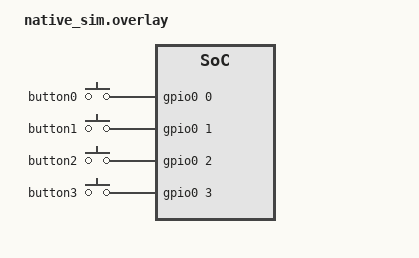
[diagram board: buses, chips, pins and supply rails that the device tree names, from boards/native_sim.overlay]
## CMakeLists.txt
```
# SPDX-License-Identifier: Apache-2.0

cmake_minimum_required(VERSION 3.28.0)
find_package(Zephyr REQUIRED HINTS $ENV{ZEPHYR_BASE})
project(hid_device)

target_sources(app PRIVATE src/main.c)
```

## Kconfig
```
# Copyright (c) 2026 SiFli Technologies(Nanjing) Co., Ltd
#
# SPDX-License-Identifier: Apache-2.0

mainmenu "Bluetooth Classic HID Device sample"

source "Kconfig.zephyr"
```

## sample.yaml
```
sample:
  name: Bluetooth HID Device
tests:
  sample.bluetooth.hid_device:
    harness: bluetooth
    platform_allow:
      - sf32lb52_devkit_lcd/sf32lb525uc6
      - qemu_cortex_m3
      - qemu_x86
    tags: bluetooth
    integration_platforms:
      - sf32lb52_devkit_lcd/sf32lb525uc6
```

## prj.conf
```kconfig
CONFIG_BT=y
CONFIG_BT_CLASSIC=y
CONFIG_BT_HID_DEVICE=y
CONFIG_BT_DEVICE_NAME="hid-mouse"
CONFIG_BT_COD=0x002580
CONFIG_BT_PAGE_TIMEOUT=0xFFFF
CONFIG_INPUT=y
CONFIG_GPIO=y

# Persist bonds so the virtual cable survives a reboot
CONFIG_BT_SETTINGS=y
CONFIG_FLASH=y
CONFIG_FLASH_MAP=y
CONFIG_NVS=y
CONFIG_SETTINGS=y
```

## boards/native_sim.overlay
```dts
/*
 * Copyright (c) 2026 Xiaomi Corporation
 *
 * SPDX-License-Identifier: Apache-2.0
 */

#include <zephyr/dt-bindings/input/input-event-codes.h>

/ {
	aliases {
		sw0 = &button0;
		sw1 = &button1;
		sw2 = &button2;
		sw3 = &button3;
	};

	gpio_keys {
		compatible = "gpio-keys";

		button0: button_0 {
			gpios = <&gpio0 0 GPIO_ACTIVE_HIGH>;
			zephyr,code = <INPUT_KEY_0>;
		};

		button1: button_1 {
			gpios = <&gpio0 1 GPIO_ACTIVE_HIGH>;
			zephyr,code = <INPUT_KEY_1>;
		};

		button2: button_2 {
			gpios = <&gpio0 2 GPIO_ACTIVE_HIGH>;
			zephyr,code = <INPUT_KEY_2>;
		};

		button3: button_3 {
			gpios = <&gpio0 3 GPIO_ACTIVE_HIGH>;
			zephyr,code = <INPUT_KEY_3>;
		};
	};
};
```

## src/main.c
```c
/* main.c - Bluetooth Classic HID Device (Mouse) sample */

/*
 * Copyright (c) 2026 Xiaomi Corporation
 *
 * SPDX-License-Identifier: Apache-2.0
 */

#include <errno.h>
#include <stddef.h>

#include <zephyr/kernel.h>
#include <zephyr/sys/printk.h>
#include <zephyr/types.h>

#include <zephyr/bluetooth/bluetooth.h>
#include <zephyr/bluetooth/classic/classic.h>
#include <zephyr/bluetooth/classic/hid_device.h>
#include <zephyr/bluetooth/classic/sdp.h>
#include <zephyr/bluetooth/conn.h>
#include <zephyr/bluetooth/l2cap.h>
#include <zephyr/input/input.h>
#include <zephyr/settings/settings.h>
#include <zephyr/usb/class/hid.h>

#define HID_DEVICE_VERSION      0x0101U
#define HID_PARSER_VERSION      0x0111U
#define HID_DEVICE_SUBCLASS     0x80U /* Pointing device (mouse) */
#define HID_DEVICE_COUNTRY_CODE 0x21U
#define HID_PROTO_CONTROL       0x0011U
#define HID_PROTO_INTERRUPT     0x0013U

#define HID_LANG_ID_ENGLISH 0x0409U
#define HID_LANG_ID_OFFSET  0x0100U

#define HID_SUPERVISION_TIMEOUT  1000
#define HID_SSR_HOST_MAX_LATENCY 240
#define HID_SSR_HOST_MIN_TIMEOUT 0

/* Byte indices and length of the Report Protocol mouse input report. The
 * layout matches HID_MOUSE_REPORT_DESC() below: buttons + X + Y + wheel. That
 * descriptor declares no Report ID, so Report Protocol reports carry no ID
 * byte. Boot Protocol is different, see HID_BOOT_MOUSE_* below.
 */
enum mouse_report_idx {
	MOUSE_BTN_REPORT_IDX = 0,
	MOUSE_X_REPORT_IDX = 1,
	MOUSE_Y_REPORT_IDX = 2,
	MOUSE_WHEEL_REPORT_IDX = 3,
	MOUSE_REPORT_COUNT = 4,
};

#define MOUSE_BTN_LEFT  0
#define MOUSE_BTN_RIGHT 1

/* Boot Protocol Mode mouse report. Unlike Report Protocol, the HID spec
 * (v1.1.2, 3.3.2 and Table 3.15) mandates a leading Report ID for boot
 * reports: a mouse boot report is 4 octets, Report ID 2 followed by the
 * standard 3-octet boot report (buttons + X + Y). Every report sent in Boot
 * Protocol Mode, over GET_REPORT or asynchronously on the Interrupt channel,
 * must include this Report ID.
 */
#define HID_BOOT_MOUSE_REPORT_ID 0x02U
#define HID_BOOT_MOUSE_REPORT_LEN 4U

NET_BUF_POOL_FIXED_DEFINE(hid_tx_pool, 2, BT_L2CAP_BUF_SIZE(CONFIG_BT_L2CAP_TX_MTU),
			  CONFIG_BT_CONN_TX_USER_DATA_SIZE, NULL);

/* HID callbacks run in the Bluetooth RX workqueue while the input callback
 * runs in the input subsystem thread (CONFIG_INPUT_MODE_THREAD). hid_lock
 * serializes the HID session state below between the two: the HID callbacks
 * update it under the lock, and the input path holds it while building and
 * sending a report, so a report is never built for one session and sent on
 * another.
 */
static K_MUTEX_DEFINE(hid_lock);

static struct bt_hid_device *default_hid;

/* Protocol mode negotiated with the host. The HID spec defaults to Report
 * Protocol Mode, and there is no API to query the stack, so the application
 * tracks the mode itself from the Set_Protocol callback.
 */
static bool hid_boot_mode;

/* Deferred Virtual Cable Unplug bookkeeping, see hid_vc_unplug_cb() */
static bool vcu_unplug_pending;
static bt_addr_t vcu_peer;

/* Standard mouse report descriptor from the HID class helpers. It declares
 * two buttons and relative X/Y/wheel with no Report ID, matching the input
 * report built in send_mouse_report().
 */
static const uint8_t mouse_descriptor[] = HID_MOUSE_REPORT_DESC(2);

/* clang-format off */
static struct bt_sdp_attribute hid_attrs[] = {
	BT_SDP_NEW_SERVICE,
	BT_SDP_LIST(
		BT_SDP_ATTR_SVCLASS_ID_LIST,
		BT_SDP_TYPE_SIZE_VAR(BT_SDP_SEQ8, 3),
		BT_SDP_DATA_ELEM_LIST(
		{
			BT_SDP_TYPE_SIZE(BT_SDP_UUID16),
			BT_SDP_ARRAY_16(BT_SDP_HID_SVCLASS)
		}
		)
	),
	BT_SDP_LIST(
		BT_SDP_ATTR_PROTO_DESC_LIST,
		BT_SDP_TYPE_SIZE_VAR(BT_SDP_SEQ8, 13),
		BT_SDP_DATA_ELEM_LIST(
		{
			BT_SDP_TYPE_SIZE_VAR(BT_SDP_SEQ8, 6),
			BT_SDP_DATA_ELEM_LIST(
			{
				BT_SDP_TYPE_SIZE(BT_SDP_UUID16),
				BT_SDP_ARRAY_16(BT_SDP_PROTO_L2CAP)
			},
			{
				BT_SDP_TYPE_SIZE(BT_SDP_UINT16),
				BT_SDP_ARRAY_16(HID_PROTO_CONTROL)
			}
			)
		},
		{
			BT_SDP_TYPE_SIZE_VAR(BT_SDP_SEQ8, 3),
			BT_SDP_DATA_ELEM_LIST(
			{
				BT_SDP_TYPE_SIZE(BT_SDP_UUID16),
				BT_SDP_ARRAY_16(BT_SDP_PROTO_HID)
			}
			)
		},
		)
	),
	BT_SDP_LIST(
		BT_SDP_ATTR_PROFILE_DESC_LIST,
		BT_SDP_TYPE_SIZE_VAR(BT_SDP_SEQ8, 8),
		BT_SDP_DATA_ELEM_LIST(
		{
			BT_SDP_TYPE_SIZE_VAR(BT_SDP_SEQ8, 6),
			BT_SDP_DATA_ELEM_LIST(
			{
				BT_SDP_TYPE_SIZE(BT_SDP_UUID16),
				BT_SDP_ARRAY_16(BT_SDP_HID_SVCLASS)
			},
			{
				BT_SDP_TYPE_SIZE(BT_SDP_UINT16),
				BT_SDP_ARRAY_16(HID_DEVICE_VERSION)
			}
			)
		}
		)
	),
	BT_SDP_LIST(
		BT_SDP_ATTR_ADD_PROTO_DESC_LIST,
		BT_SDP_TYPE_SIZE_VAR(BT_SDP_SEQ8, 15),
		BT_SDP_DATA_ELEM_LIST(
		{
			BT_SDP_TYPE_SIZE_VAR(BT_SDP_SEQ8, 13),
			BT_SDP_DATA_ELEM_LIST(
			{
				BT_SDP_TYPE_SIZE_VAR(BT_SDP_SEQ8, 6),
				BT_SDP_DATA_ELEM_LIST(
				{
					BT_SDP_TYPE_SIZE(BT_SDP_UUID16),
					BT_SDP_ARRAY_16(BT_SDP_PROTO_L2CAP)
				},
				{
					BT_SDP_TYPE_SIZE(BT_SDP_UINT16),
					BT_SDP_ARRAY_16(HID_PROTO_INTERRUPT)
				}
				)
			},
			{
				BT_SDP_TYPE_SIZE_VAR(BT_SDP_SEQ8, 3),
				BT_SDP_DATA_ELEM_LIST(
				{
					BT_SDP_TYPE_SIZE(BT_SDP_UUID16),
					BT_SDP_ARRAY_16(BT_SDP_PROTO_HID)
				}
				)
			}
			)
		}
		)
	),
	BT_SDP_SERVICE_NAME("HID Mouse"),
	{
		BT_SDP_ATTR_HID_DEVICE_RELEASE_NUMBER,
		{ BT_SDP_TYPE_SIZE(BT_SDP_UINT16), BT_SDP_ARRAY_16(HID_DEVICE_VERSION) }
	},
	{
		BT_SDP_ATTR_HID_PARSER_VERSION,
		{ BT_SDP_TYPE_SIZE(BT_SDP_UINT16), BT_SDP_ARRAY_16(HID_PARSER_VERSION) }
	},
	{
		BT_SDP_ATTR_HID_DEVICE_SUBCLASS,
		{ BT_SDP_TYPE_SIZE(BT_SDP_UINT8), BT_SDP_ARRAY_8(HID_DEVICE_SUBCLASS) }
	},
	{
		BT_SDP_ATTR_HID_COUNTRY_CODE,
		{ BT_SDP_TYPE_SIZE(BT_SDP_UINT8), BT_SDP_ARRAY_8(HID_DEVICE_COUNTRY_CODE) }
	},
	{
		BT_SDP_ATTR_HID_VIRTUAL_CABLE,
		{ BT_SDP_TYPE_SIZE(BT_SDP_BOOL), BT_SDP_ARRAY_8(0x01) }
	},
	/* The sample never pages the host: it stays page scannable and waits for
	 * the host to (re)connect, so it does not claim device-initiated
	 * reconnection.
	 */
	{
		BT_SDP_ATTR_HID_RECONNECT_INITIATE,
		{ BT_SDP_TYPE_SIZE(BT_SDP_BOOL), BT_SDP_ARRAY_8(0x00) }
	},
	BT_SDP_LIST(
		BT_SDP_ATTR_HID_DESCRIPTOR_LIST,
		BT_SDP_TYPE_SIZE_VAR(BT_SDP_SEQ16, sizeof(mouse_descriptor) + 8),
		BT_SDP_DATA_ELEM_LIST(
		{
			BT_SDP_TYPE_SIZE_VAR(BT_SDP_SEQ16, sizeof(mouse_descriptor) + 5),
			BT_SDP_DATA_ELEM_LIST(
			{
				BT_SDP_TYPE_SIZE(BT_SDP_UINT8),
				BT_SDP_ARRAY_8(0x22),
			},
			{
				BT_SDP_TYPE_SIZE_VAR(BT_SDP_TEXT_STR16, sizeof(mouse_descriptor)),
				mouse_descriptor,
			}
			)
		}
		)
	),
	BT_SDP_LIST(
		BT_SDP_ATTR_HID_LANG_ID_BASE_LIST,
		BT_SDP_TYPE_SIZE_VAR(BT_SDP_SEQ8, 8),
		BT_SDP_DATA_ELEM_LIST(
		{
			BT_SDP_TYPE_SIZE_VAR(BT_SDP_SEQ8, 6),
			BT_SDP_DATA_ELEM_LIST(
			{
				BT_SDP_TYPE_SIZE(BT_SDP_UINT16),
				BT_SDP_ARRAY_16(HID_LANG_ID_ENGLISH),
			},
			{
				BT_SDP_TYPE_SIZE(BT_SDP_UINT16),
				BT_SDP_ARRAY_16(HID_LANG_ID_OFFSET),
			}
			),
		}
		)
	),
	{
		BT_SDP_ATTR_HID_BOOT_DEVICE,
		{ BT_SDP_TYPE_SIZE(BT_SDP_BOOL), BT_SDP_ARRAY_8(0x01) }
	},
	{
		BT_SDP_ATTR_HID_PROFILE_VERSION,
		{ BT_SDP_TYPE_SIZE(BT_SDP_UINT16), BT_SDP_ARRAY_16(HID_DEVICE_VERSION) }
	},
	/* Neither battery reporting nor remote wake of a suspended host is
	 * implemented by this sample.
	 */
	{
		BT_SDP_ATTR_HID_BATTERY_POWER,
		{ BT_SDP_TYPE_SIZE(BT_SDP_BOOL), BT_SDP_ARRAY_8(0x00) }
	},
	{
		BT_SDP_ATTR_HID_REMOTE_WAKEUP,
		{ BT_SDP_TYPE_SIZE(BT_SDP_BOOL), BT_SDP_ARRAY_8(0x00) }
	},
	/* Page scan stays enabled while no host is connected */
	{
		BT_SDP_ATTR_HID_NORMALLY_CONNECTABLE,
		{ BT_SDP_TYPE_SIZE(BT_SDP_BOOL), BT_SDP_ARRAY_8(0x01) }
	},
	{
		BT_SDP_ATTR_HID_SUPERVISION_TIMEOUT,
		{ BT_SDP_TYPE_SIZE(BT_SDP_UINT16), BT_SDP_ARRAY_16(HID_SUPERVISION_TIMEOUT) }
	},
	{
		BT_SDP_ATTR_HID_SSR_HOST_MAX_LATENCY,
		{ BT_SDP_TYPE_SIZE(BT_SDP_UINT16), BT_SDP_ARRAY_16(HID_SSR_HOST_MAX_LATENCY) }
	},
	{
		BT_SDP_ATTR_HID_SSR_HOST_MIN_TIMEOUT,
		{ BT_SDP_TYPE_SIZE(BT_SDP_UINT16), BT_SDP_ARRAY_16(HID_SSR_HOST_MIN_TIMEOUT) }
	},
};
/* clang-format on */

static struct bt_sdp_record hid_rec = BT_SDP_RECORD(hid_attrs);

static void send_mouse_report(const uint8_t report[MOUSE_REPORT_COUNT])
{
	struct net_buf *buf;
	int err;

	/* Allocate before taking hid_lock: the allocation may block until a
	 * buffer is freed, which must not happen while the HID callbacks are
	 * kept waiting for the lock.
	 */
	buf = bt_hid_device_create_pdu(&hid_tx_pool);
	if (buf == NULL) {
		printk("Failed to allocate HID PDU\n");
		return;
	}

	k_mutex_lock(&hid_lock, K_FOREVER);

	if (default_hid == NULL) {
		k_mutex_unlock(&hid_lock);
		net_buf_unref(buf);
		return;
	}

	/* Report Protocol sends buttons + X + Y + wheel with no Report ID. Boot
	 * Protocol prepends Report ID 2 and drops the wheel byte, so it carries
	 * the ID plus buttons + X + Y (HID spec v1.1.2, 3.3.2).
	 */
	if (hid_boot_mode) {
		net_buf_add_u8(buf, HID_BOOT_MOUSE_REPORT_ID);
		net_buf_add_mem(buf, report, 3);
	} else {
		net_buf_add_mem(buf, report, MOUSE_REPORT_COUNT);
	}

	err = bt_hid_device_input_report(default_hid, buf);

	k_mutex_unlock(&hid_lock);

	if (err != 0) {
		printk("Failed to send input report (err %d)\n", err);
		net_buf_unref(buf);
	}
}

/* Turn board button events into mouse input reports. Modeled on the USB HID
 * mouse sample: two buttons plus relative motion driven by four keys. The
 * board's devicetree maps its buttons to INPUT_KEY_0..3 (see the bundled
 * native_sim overlay). The callback runs in the input subsystem thread, not in
 * the Bluetooth RX thread, so calling the HID send path directly here is safe.
 */
static void input_cb(struct input_event *evt, void *user_data)
{
	static uint8_t report[MOUSE_REPORT_COUNT];

	ARG_UNUSED(user_data);

	/* This callback sees events from every input device. Event codes overlap
	 * between types (e.g. INPUT_KEY_1 and INPUT_REL_Z are both 2), so only
	 * key events may be mapped to mouse actions.
	 */
	if (evt->type != INPUT_EV_KEY) {
		return;
	}

	switch (evt->code) {
	case INPUT_KEY_0:
		WRITE_BIT(report[MOUSE_BTN_REPORT_IDX], MOUSE_BTN_LEFT, evt->value);
		break;
	case INPUT_KEY_1:
		WRITE_BIT(report[MOUSE_BTN_REPORT_IDX], MOUSE_BTN_RIGHT, evt->value);
		break;
	case INPUT_KEY_2:
		if (evt->value) {
			report[MOUSE_X_REPORT_IDX] += 10U;
		}

		break;
	case INPUT_KEY_3:
		if (evt->value) {
			report[MOUSE_Y_REPORT_IDX] += 10U;
		}

		break;
	default:
		printk("Unrecognized input code %u value %d\n", evt->code, evt->value);
		return;
	}

	send_mouse_report(report);

	/* Relative axes are one-shot; button bits persist until released */
	report[MOUSE_X_REPORT_IDX] = 0U;
	report[MOUSE_Y_REPORT_IDX] = 0U;
	report[MOUSE_WHEEL_REPORT_IDX] = 0U;
}
INPUT_CALLBACK_DEFINE(NULL, input_cb, NULL);

static void hid_connected_cb(struct bt_hid_device *hid)
{
	printk("HID connected\n");

	k_mutex_lock(&hid_lock, K_FOREVER);
	default_hid = hid;
	/* A new connection starts in Report Protocol Mode */
	hid_boot_mode = false;
	k_mutex_unlock(&hid_lock);
}

static void hid_disconnected_cb(struct bt_hid_device *hid)
{
	ARG_UNUSED(hid);

	printk("HID disconnected\n");

	k_mutex_lock(&hid_lock, K_FOREVER);
	default_hid = NULL;
	k_mutex_unlock(&hid_lock);

	if (vcu_unplug_pending) {
		vcu_unplug_pending = false;
		bt_br_unpair(&vcu_peer);
	}
}

static int hid_set_report_cb(struct bt_hid_device *hid, uint8_t type, struct net_buf *buf)
{
	ARG_UNUSED(hid);

	/* The mouse descriptor declares no OUTPUT or FEATURE report, and only a
	 * device that declares one has to support SET_REPORT (HID spec v1.1.2,
	 * 3.1.2.4). Reject the request instead of acknowledging a report that
	 * does not exist. A device with such reports would validate the type
	 * and Report ID against its descriptor and apply the payload.
	 */
	printk("Set Report: type %u len %u (unsupported)\n", type, buf->len);

	/* Mapped to ERR_UNSUPPORTED_REQUEST by the stack */
	return -EOPNOTSUPP;
}

static int hid_get_report_cb(struct bt_hid_device *hid, uint8_t type, bool size_present,
			     struct net_buf *req, struct net_buf *rsp)
{
	/* Idle mouse report. Report Protocol carries buttons + X + Y + wheel
	 * with no Report ID; Boot Protocol carries Report ID 2 followed by
	 * buttons + X + Y (HID spec v1.1.2, 3.3.2 and Table 3.15).
	 */
	static const uint8_t report[] = {0x00, 0x00, 0x00, 0x00};
	static const uint8_t boot_report[] = {HID_BOOT_MOUSE_REPORT_ID, 0x00, 0x00, 0x00};
	uint16_t buffer_size = 0;
	const uint8_t *data;
	uint16_t len;

	ARG_UNUSED(hid);

	if (size_present) {
		if (req->len < sizeof(buffer_size)) {
			return -EINVAL;
		}

		buffer_size = net_buf_pull_le16(req);
	}

	printk("Get Report: type %u size %u\n", type, buffer_size);

	/* The mouse descriptor above declares INPUT reports only */
	if (type != BT_HID_REPORT_TYPE_INPUT) {
		/* Mapped to ERR_INVALID_PARAMETER by the stack */
		return -EINVAL;
	}

	if (hid_boot_mode) {
		data = boot_report;
		len = (uint16_t)sizeof(boot_report);
	} else {
		data = report;
		len = (uint16_t)sizeof(report);
	}

	/* When the Size bit is set the response must not exceed BufferSize */
	if (size_present) {
		if (buffer_size == 0U) {
			return -EINVAL;
		}

		len = MIN(len, buffer_size);
	}

	if (len > net_buf_tailroom(rsp)) {
		return -ENOMEM;
	}

	/* The stack prepends the HIDP DATA header and sends the response once
	 * this callback returns 0.
	 */
	net_buf_add_mem(rsp, data, len);

	return 0;
}

static int hid_set_protocol_cb(struct bt_hid_device *hid, uint8_t protocol)
{
	ARG_UNUSED(hid);

	printk("Set Protocol: %s\n", protocol == BT_HID_PROTOCOL_BOOT_MODE ? "Boot" : "Report");

	k_mutex_lock(&hid_lock, K_FOREVER);
	hid_boot_mode = (protocol == BT_HID_PROTOCOL_BOOT_MODE);
	k_mutex_unlock(&hid_lock);

	return 0;
}

static void hid_vc_unplug_cb(struct bt_hid_device *hid)
{
	struct bt_conn *conn = bt_hid_device_get_conn(hid);

	printk("Virtual cable unplug\n");

	/* The bonding information for the peer that requested the unplug has to
	 * be destroyed. Defer it to the disconnected callback: bt_br_unpair()
	 * drops the ACL, so unpairing here would tear down the still-open HID
	 * channels out of order.
	 */
	if (conn != NULL) {
		bt_addr_copy(&vcu_peer, bt_conn_get_dst_br(conn));
		vcu_unplug_pending = true;
		bt_conn_unref(conn);
	}
}

static void hid_suspend_cb(struct bt_hid_device *hid, bool suspended)
{
	ARG_UNUSED(hid);

	printk("HID Host %s\n", suspended ? "suspended" : "exit suspend");
}

static const struct bt_hid_device_cb hid_cb = {
	.connected = hid_connected_cb,
	.disconnected = hid_disconnected_cb,
	.set_report = hid_set_report_cb,
	.get_report = hid_get_report_cb,
	.set_protocol = hid_set_protocol_cb,
	/* A mouse has no output report, so no output_report callback */
	.vc_unplug = hid_vc_unplug_cb,
	.suspend = hid_suspend_cb,
};

static void connected(struct bt_conn *conn, uint8_t err)
{
	ARG_UNUSED(conn);

	if (err != 0) {
		printk("Connection failed (err 0x%02x)\n", err);
		return;
	}

	printk("Connected\n");
}

static void disconnected(struct bt_conn *conn, uint8_t reason)
{
	ARG_UNUSED(conn);

	printk("Disconnected (reason 0x%02x)\n", reason);
}

static void security_changed(struct bt_conn *conn, bt_security_t level, enum bt_security_err err)
{
	char addr[BT_ADDR_STR_LEN];

	bt_addr_to_str(bt_conn_get_dst_br(conn), addr, sizeof(addr));

	printk("Security changed: %s level %u (err %d)\n", addr, level, err);
}

static struct bt_conn_cb conn_callbacks = {
	.connected = connected,
	.disconnected = disconnected,
	.security_changed = security_changed,
};

static void bt_ready(int err)
{
	if (err != 0) {
		printk("Bluetooth init failed (err %d)\n", err);
		return;
	}

	if (IS_ENABLED(CONFIG_SETTINGS)) {
		settings_load();
	}

	printk("Bluetooth initialized\n");

	err = bt_conn_cb_register(&conn_callbacks);
	if (err != 0) {
		printk("Failed to register connection callbacks (err %d)\n", err);
		return;
	}

	err = bt_hid_device_register(&hid_cb);
	if (err != 0) {
		printk("HID register failed (err %d)\n", err);
		return;
	}

	err = bt_sdp_register_service(&hid_rec);
	if (err != 0) {
		printk("SDP register failed (err %d)\n", err);
		return;
	}

	err = bt_br_set_connectable(true, NULL);
	if (err != 0) {
		printk("Set connectable failed (err %d)\n", err);
		return;
	}

	err = bt_br_set_discoverable(true, false);
	if (err != 0) {
		printk("Set discoverable failed (err %d)\n", err);
		return;
	}

	printk("HID Mouse Device ready, waiting for connections...\n");
}

int main(void)
{
	int err;

	printk("Bluetooth HID Device Mouse demo\n");

	err = bt_enable(bt_ready);
	if (err != 0) {
		printk("Bluetooth init failed (err %d)\n", err);
	}

	return 0;
}
```

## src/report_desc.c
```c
/*
 * Copyright (c) 2026
 *
 * SPDX-License-Identifier: Apache-2.0
 */

#include <stddef.h>
#include <stdint.h>

#include "report_desc.h"

const uint8_t hid_keyboard_report_desc[] = {
	0x05, 0x01, /* Usage Page (Generic Desktop) */
	0x09, 0x06, /* Usage (Keyboard) */
	0xa1, 0x01, /* Collection (Application) */
	0x05, 0x07, /*   Usage Page (Keyboard) */
	0x19, 0xe0, /*   Usage Minimum (224) */
	0x29, 0xe7, /*   Usage Maximum (231) */
	0x15, 0x00, /*   Logical Minimum (0) */
	0x25, 0x01, /*   Logical Maximum (1) */
	0x75, 0x01, /*   Report Size (1) */
	0x95, 0x08, /*   Report Count (8) */
	0x81, 0x02, /*   Input (Data, Variable, Absolute) */
	0x95, 0x01, /*   Report Count (1) */
	0x75, 0x08, /*   Report Size (8) */
	0x81, 0x01, /*   Input (Constant) */
	0x95, 0x06, /*   Report Count (6) */
	0x75, 0x08, /*   Report Size (8) */
	0x15, 0x00, /*   Logical Minimum (0) */
	0x25, 0x65, /*   Logical Maximum (101) */
	0x05, 0x07, /*   Usage Page (Keyboard) */
	0x19, 0x00, /*   Usage Minimum (0) */
	0x29, 0x65, /*   Usage Maximum (101) */
	0x81, 0x00, /*   Input (Data, Array) */
	0xc0,       /* End Collection */
};

const size_t hid_keyboard_report_desc_len = sizeof(hid_keyboard_report_desc);
```

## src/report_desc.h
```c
/*
 * Copyright (c) 2026
 *
 * SPDX-License-Identifier: Apache-2.0
 */

#ifndef REPORT_DESC_H_
#define REPORT_DESC_H_

#include <stddef.h>
#include <stdint.h>

extern const uint8_t hid_keyboard_report_desc[];
extern const size_t hid_keyboard_report_desc_len;

#endif /* REPORT_DESC_H_ */
```
